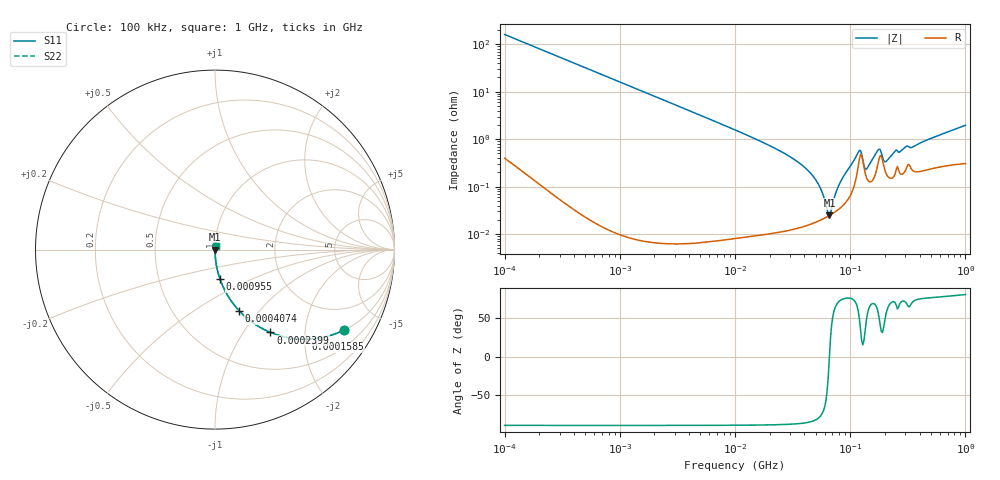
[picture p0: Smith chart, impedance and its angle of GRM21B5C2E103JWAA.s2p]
!Murata Part Number: GRM21B5C2E103JWAA
!These Parameters are Measured in Series Mode Connection
!Data Generated on Mar 30, 2021
!  o--ll--o
!Port1  Port2
!  o------o
!Operation Temp=25[degC], DC Bias Voltage=0[V]
!Freq. Start=100[kHz] Stop=1000[MHz] 401[Steps]
# Hz S RI R 50
!Freq.(Hz) S11(Real) S11(Imag) S21(Real) S21(Imag) S12(Real) S12(Imag) S22(Real) S22(Imag)
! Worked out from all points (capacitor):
!   401 points, 100 kHz to 1 GHz, reference 50 ohm
!   read as one part in series: C = 9.93 nF near 104.7 kHz
!   lowest |Z| = 24.7 mohm at 66.07 MHz (marker M1)
!   series resonance near 65.98 MHz, so ESL is about 590 pH
!   S11 on the Smith chart (normalised r, x): 100 kHz: 1.01, -3.21; 158.5 kHz: 1.00, -2.02; 239.9 kHz: 1.00, -1.34; 407.4 kHz: 1.00, -0.79; 955 kHz: 1.00, -0.34; 1 GHz: 1.01, +0.04
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100000  0.7192 -0.4481  0.2808 0.4481  0.2808 0.4481  0.7192 -0.4481
158489  0.5058 -0.4991  0.4942 0.4991  0.4942 0.4991  0.5058 -0.4991
239883  0.3091 -0.4615  0.6909 0.4615  0.6909 0.4615  0.3091 -0.4615
407380  0.1344 -0.3407  0.8656 0.3407  0.8656 0.3407  0.1344 -0.3407
467735  0.1054 -0.3067  0.8946 0.3067  0.8946 0.3067  0.1054 -0.3067
954993  0.0275 -0.1633  0.9725 0.1633  0.9725 0.1633  0.0275 -0.1633
2187762  0.0054 -0.0728  0.9946 0.0728  0.9946 0.0728  0.0054 -0.0728
1e7  0.000326 -0.0157  0.9997 0.0157  0.9997 0.0157  0.000326 -0.0157
2.818383e7  0.000139 -0.00468  0.9999 0.00468  0.9999 0.00468  0.000139 -0.00468
4.677351e7  0.000169 -0.00174  0.9998 0.00174  0.9998 0.00174  0.000169 -0.00174
5.495409e7  0.000197 -0.000924  0.9998 0.000924  0.9998 0.000924  0.000197 -0.000924
6.309573e7  0.000232 -0.000228  0.9998 0.000228  0.9998 0.000228  0.000232 -0.000228
6.606934e7  0.000247 6.8e-06  0.9998 -6.8e-06  0.9998 -6.8e-06  0.000247 6.8e-06
8.128305e7  0.000351 0.00113  0.9996 -0.00113  0.9996 -0.00113  0.000351 0.00113
1.174898e8  0.00272 0.00454  0.9973 -0.00454  0.9973 -0.00454  0.00272 0.00454
1.230269e8  0.00475 0.00322  0.9953 -0.00322  0.9953 -0.00322  0.00475 0.00322
1.380384e8  0.0016 0.0017  0.9984 -0.0017  0.9984 -0.0017  0.0016 0.0017
1.737801e8  0.00297 0.00498  0.997 -0.00498  0.997 -0.00498  0.00297 0.00498
1.995262e8  0.00228 0.00242  0.9977 -0.00242  0.9977 -0.00242  0.00228 0.00242
2.187762e8  0.00154 0.00373  0.9985 -0.00373  0.9985 -0.00373  0.00154 0.00373
3.019952e8  0.00225 0.00647  0.9978 -0.00647  0.9978 -0.00647  0.00225 0.00647
1e9  0.00342 0.0192  0.9966 -0.0192  0.9966 -0.0192  0.00342 0.0192
